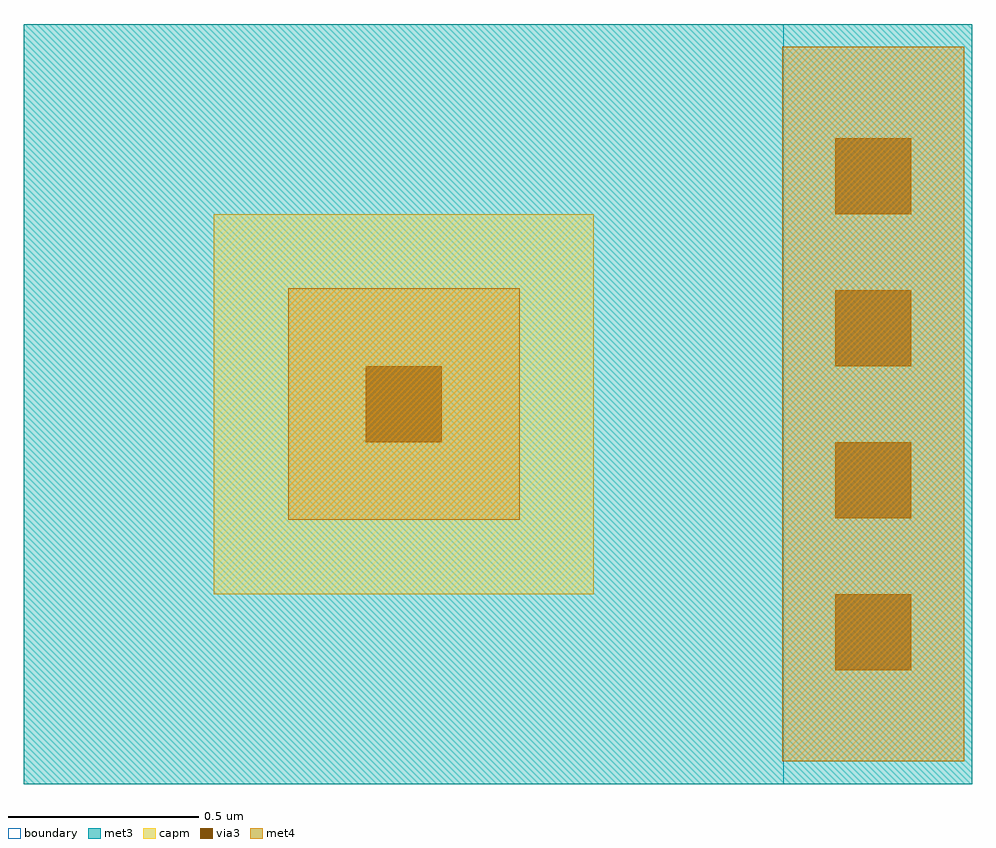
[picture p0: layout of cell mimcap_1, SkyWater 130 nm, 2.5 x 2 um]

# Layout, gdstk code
import gdstk
lib = gdstk.Library(unit=1e-6, precision=1e-09)
def R(c, l, rs):  # rectangles x0, y0, x1, y1
    for r in rs: c.add(gdstk.rectangle(r[:2], r[2:], *l))
met3 = (70, 20)
via3 = (70, 44)
met4 = (71, 20)
capm = (89, 44)
boundary = (235, 4)

mimcap_1 = lib.new_cell('mimcap_1')
R(mimcap_1, met3, [(0,0,2.495,2)])
R(mimcap_1, via3, [(2.135,0.3,2.335,0.5), (2.135,0.3,2.335,0.5), (2.135,0.7,2.335,0.9), (2.135,0.7,2.335,0.9), (0.9,0.9,1.1,1.1), (0.9,0.9,1.1,1.1), (2.135,1.1,2.335,1.3), (2.135,1.1,2.335,1.3), (2.135,1.5,2.335,1.7), (2.135,1.5,2.335,1.7)])
R(mimcap_1, met4, [(1.995,0.06,2.475,1.94), (0.695,0.695,1.305,1.305)])
R(mimcap_1, capm, [(0.5,0.5,1.5,1.5)])
R(mimcap_1, boundary, [(0,0,2,2)])

lib.write_gds('mimcap_1.gds')
